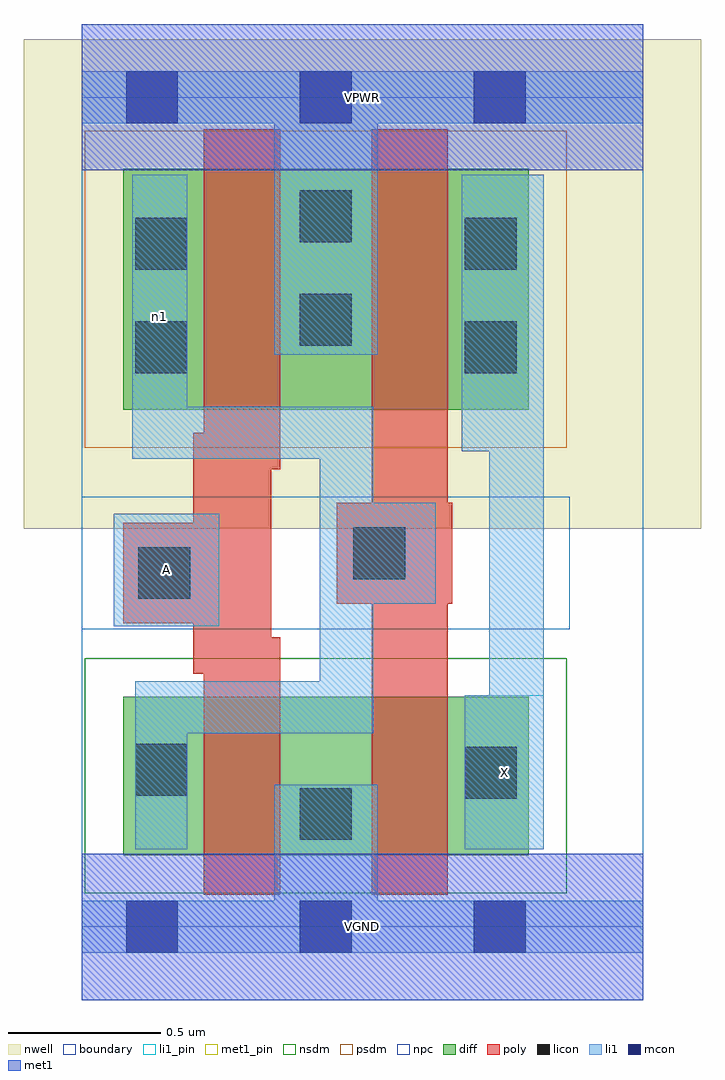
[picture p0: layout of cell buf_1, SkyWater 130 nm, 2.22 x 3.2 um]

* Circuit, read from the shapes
.subckt buf_1 A VGND VPWR X n1
XM1 VGND A n1 VSUBS sky130_fd_pr__nfet_01v8 w=0.52 l=0.25
XM2 X n1 VGND VSUBS sky130_fd_pr__nfet_01v8 w=0.52 l=0.25
XM3 VPWR A n1 n2 sky130_fd_pr__pfet_01v8 w=0.79 l=0.25
XM4 X n1 VPWR n2 sky130_fd_pr__pfet_01v8 w=0.79 l=0.25
.ends

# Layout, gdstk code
import gdstk
lib = gdstk.Library(unit=1e-6, precision=1e-09)
def R(c, l, rs):  # rectangles x0, y0, x1, y1
    for r in rs: c.add(gdstk.rectangle(r[:2], r[2:], *l))
def A(c, l, x, y, w, h, nx, ny, dx, dy):  # array of equal rectangles
    R(c, l, [(x+i*dx, y+j*dy, x+i*dx+w, y+j*dy+h) for i in range(nx) for j in range(ny)])
nwell = (64, 20)
diff = (65, 20)
poly = (66, 20)
licon = (66, 44)
li1_pin = (67, 16)
li1 = (67, 20)
mcon = (67, 44)
met1_pin = (68, 16)
met1 = (68, 20)
nsdm = (93, 44)
psdm = (94, 20)
npc = (95, 20)
boundary = (235, 4)

buf_1 = lib.new_cell('buf_1')
R(buf_1, nwell, [(-0.19,1.305,2.03,2.91), (0,1.305,1.84,2.91)])
R(buf_1, diff, [(0.135,0.235,1.465,0.755), (0.135,1.695,1.465,2.485)])
R(buf_1, poly, [(0.4,0.105,0.62,2.615), (0.4,0.105,0.65,0.95), (0.95,0.105,1.2,2.615), (0.365,0.83,0.62,1.62), (0.135,0.995,0.62,1.325), (0.835,1.06,1.215,1.39), (0.4,1.5,0.65,2.615)])
R(buf_1, licon, [(0.715,0.285,0.885,0.455), (1.255,0.42,1.425,0.59), (0.175,0.43,0.345,0.6), (0.185,1.075,0.355,1.245), (0.89,1.14,1.06,1.31), (0.175,1.815,0.345,1.985), (1.255,1.815,1.425,1.985), (0.715,1.905,0.885,2.075), (0.175,2.155,0.345,2.325), (1.255,2.155,1.425,2.325), (0.715,2.245,0.885,2.415)])
R(buf_1, li1_pin, [(1.255,0.255,1.515,0.76), (0.105,0.985,0.45,1.355)])
R(buf_1, li1, [(0,-0.085,1.84,0.085), (0.63,-0.085,0.97,0.465), (0.175,0.255,0.345,0.805), (1.255,0.255,1.515,0.76), (1.335,0.255,1.515,2.465), (0.175,0.635,0.955,0.805), (0.78,0.635,0.955,1.705), (0.105,0.985,0.45,1.355), (0.78,1.06,1.16,1.39), (0.165,1.535,0.345,2.465), (0.165,1.535,0.955,1.705), (1.245,1.56,1.515,2.465), (0.63,1.875,0.97,2.805), (0,2.635,1.84,2.805)])
A(buf_1, mcon, 0.145, -0.085, 0.17, 0.17, 3, 2, 0.57, 2.72)
R(buf_1, met1_pin, [(0,-0.24,1.84,0.24), (0,2.48,1.84,2.96)])
R(buf_1, met1, [(0,-0.24,1.84,0.24), (0,2.48,1.84,2.96)])
R(buf_1, nsdm, [(0.01,0.11,1.59,0.88)])
R(buf_1, psdm, [(0.01,1.57,1.59,2.61)])
R(buf_1, npc, [(0,0.975,1.6,1.41)])
R(buf_1, boundary, [(0,0,1.84,2.72)])
buf_1.add(gdstk.Label('A', (0.277,1.17), layer=67, texttype=5))
buf_1.add(gdstk.Label('X', (1.385,0.507), layer=67, texttype=5))
buf_1.add(gdstk.Label('n1', (0.255,2), layer=67, texttype=5))
buf_1.add(gdstk.Label('VPWR', (0.92,2.72), layer=68, texttype=5))
buf_1.add(gdstk.Label('VGND', (0.92,0), layer=68, texttype=5))
buf_1.add(gdstk.Label('A', (0.277,1.17), layer=67, texttype=16))
buf_1.add(gdstk.Label('X', (1.385,0.507), layer=67, texttype=16))
buf_1.add(gdstk.Label('VPWR', (0.92,2.72), layer=68, texttype=16))
buf_1.add(gdstk.Label('VGND', (0.92,0), layer=68, texttype=16))

lib.write_gds('buf_1.gds')
